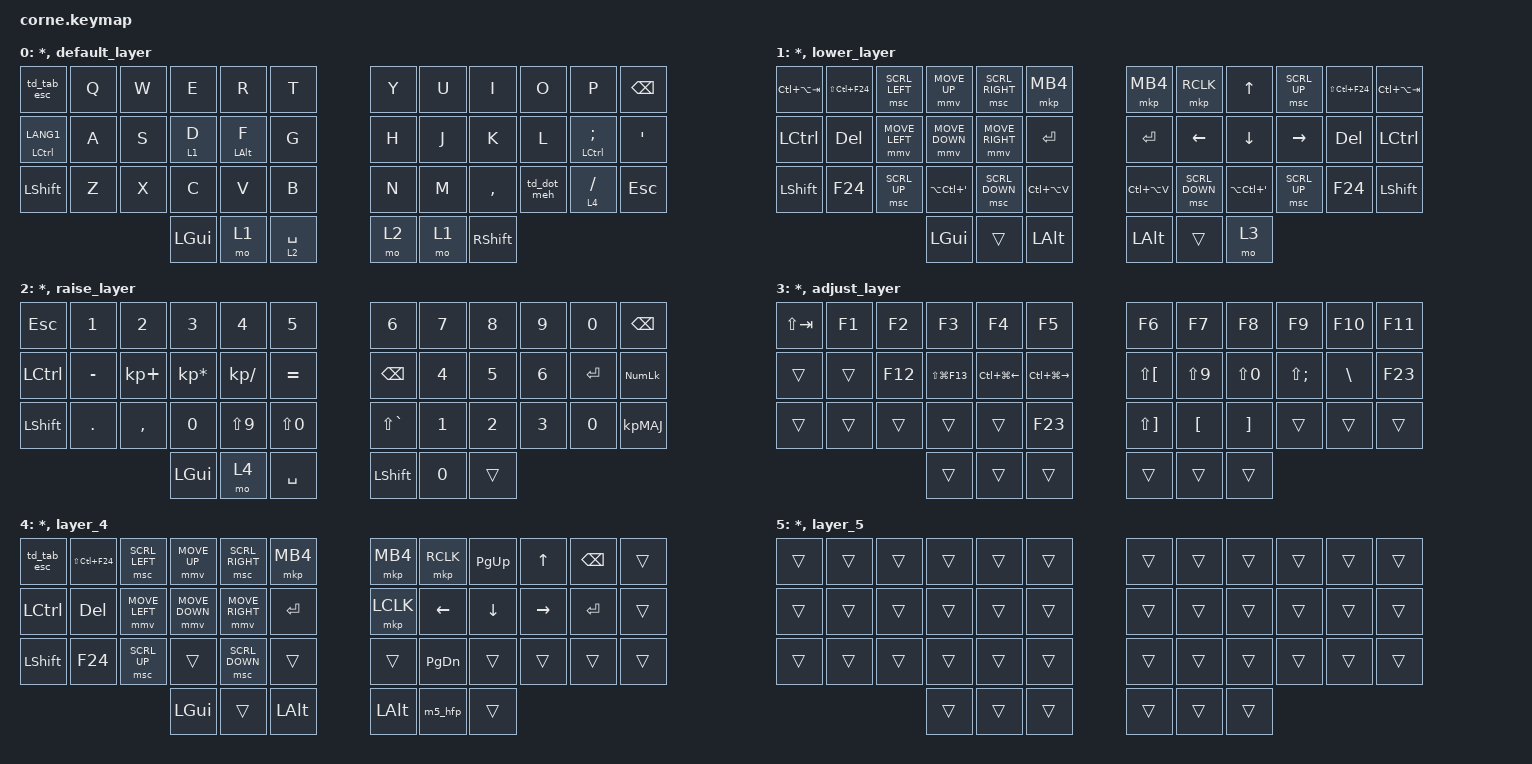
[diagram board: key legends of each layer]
,*
 * Corne Keymap
 * - Layer 1 (Lower)- IJKL -> Arrow Keys (Up, Left, Down, Right)
 * - Removed- Passwords, Combos
 *,

#include <behaviors.dtsi>
#include <dt-bindings,zmk,keys.h>
#include <dt-bindings,zmk,bt.h>
#include <dt-bindings,zmk,mouse.h>

, {
    ,* 1. 매크로 정의 *,
    macros {
        m0_hanja- m0_hanja {
            compatible = "zmk,behavior-macro";
            #binding-cells = <0>;
            bindings = <&kp LALT &kp H &kp A &kp C>;
        };
        m1_nav- m1_nav {
            compatible = "zmk,behavior-macro";
            #binding-cells = <0>;
            bindings = <&kp LALT &kp H &kp DOWN &kp DOWN &kp RIGHT &kp UP &kp RIGHT &kp RET>;
        };
        m5_hfp- m5_hfp {
            compatible = "zmk,behavior-macro";
            #binding-cells = <0>;
            bindings = <&kp LALT &kp H &kp F &kp P>;
        };
    };

    ,* 2. 탭댄스 정의 *,
    behaviors {
        td_tab_esc- tap_dance_tab_esc {
            compatible = "zmk,behavior-tap-dance";
            #binding-cells = <0>;
            tapping-term-ms = <200>;
            bindings = <&kp TAB>, <&kp ESC>;
        };
        td_dot_meh- tap_dance_dot_meh {
            compatible = "zmk,behavior-tap-dance";
            #binding-cells = <0>;
            tapping-term-ms = <180>;
            bindings = <&kp DOT>, <&kp LA(LC(LSHFT))>;
        };
    };

    keymap {
        compatible = "zmk,keymap";

        ,* Layer 0- 기본 (Base) *,
        default_layer {
            bindings = <
    &td_tab_esc     &kp Q   &kp W   &kp E     &kp R        &kp T            &kp Y      &kp U   &kp I      &kp O     &kp P            &kp BSPC
    &mt LCTRL LANG1 &kp A   &kp S   &lt 1 D   &mt LALT F   &kp G            &kp H      &kp J   &kp K      &kp L     &mt LCTRL SEMI   &kp SQT
    &kp LSHFT       &kp Z   &kp X   &kp C     &kp V        &kp B            &kp N      &kp M   &kp COMMA  &td_dot_meh  &lt 4 FSLH    &kp ESC
                            &kp LGUI &mo 1    &lt 2 SPACE                   &mo 2      &mo 1   &kp RSHFT
            >;
        };

        ,* Layer 1- 방향키 및 마우스 (Nav & Mouse)
           - Right Side Modified- I(Up), J(Left), K(Down), L(Right)
         *,
        lower_layer {
            bindings = <
    &kp LC(LA(TAB)) &kp LS(LC(F24)) &msc SCRL_LEFT &mmv MOVE_UP   &msc SCRL_RIGHT &mkp MB4         &mkp MB4  &mkp RCLK  &kp UP     &msc SCRL_UP    &kp LS(LC(F24)) &kp LC(LA(TAB))
    &kp LCTRL       &kp DEL         &mmv MOVE_LEFT &mmv MOVE_DOWN &mmv MOVE_RIGHT &kp RET          &kp RET   &kp LEFT   &kp DOWN   &kp RIGHT       &kp DEL         &kp LCTRL
    &kp LSHFT       &kp F24         &msc SCRL_UP   &kp LA(LC(SQT)) &msc SCRL_DOWN &kp LC(LA(V))    &kp LC(LA(V)) &msc SCRL_DOWN &kp LA(LC(SQT)) &msc SCRL_UP &kp F24    &kp LSHFT
                                    &kp LGUI       &trans          &kp LALT                        &kp LALT  &trans     &mo 3
            >;
        };

        ,* Layer 2- 숫자패드 (Numpad) *,
        raise_layer {
            bindings = <
    &kp ESC    &kp N1    &kp N2     &kp N3     &kp N4     &kp N5        &kp N6      &kp N7    &kp N8    &kp N9    &kp N0     &kp BSPC
    &kp LCTRL  &kp MINUS &kp KP_PLUS &kp KP_MULTIPLY &kp KP_DIVIDE &kp EQUAL  &kp BSPC    &kp N4    &kp N5    &kp N6    &kp RET    &kp KP_NUM
    &kp LSHFT  &kp DOT   &kp COMMA  &kp N0     &kp LS(N9) &kp LS(N0)    &kp LS(GRAVE) &kp N1    &kp N2    &kp N3    &kp N0     &kp KP_MAJ
                         &kp LGUI   &mo 4      &kp SPACE                &kp LSHFT   &kp N0    &trans
            >;
        };

        ,* Layer 3- 펑션키 (F-Keys) *,
        adjust_layer {
            bindings = <
    &kp LS(TAB) &kp F1   &kp F2    &kp F3     &kp F4     &kp F5        &kp F6     &kp F7    &kp F8    &kp F9    &kp F10    &kp F11
    &trans      &trans   &kp F12   &kp LS(LG(F13)) &kp LC(LG(LEFT)) &kp LC(LG(RIGHT)) &kp LS(LBKT) &kp LS(N9) &kp LS(N0) &kp LS(SEMI) &kp BSLH &kp F23
    &trans      &trans   &trans    &trans     &trans     &kp F23       &kp LS(RBKT) &kp LBKT  &kp RBKT  &trans    &trans     &trans
                         &trans    &trans     &trans                   &trans     &trans    &trans
            >;
        };

        ,* Layer 4- 스크롤 및 추가 기능 (Scroll & Extra) *,
        layer_4 {
            bindings = <
    &td_tab_esc &kp LS(LC(F24)) &msc SCRL_LEFT &mmv MOVE_UP &msc SCRL_RIGHT &mkp MB4   &mkp MB4 &mkp RCLK &kp PG_UP &kp UP &kp BSPC &trans
    &kp LCTRL   &kp DEL         &mmv MOVE_LEFT &mmv MOVE_DOWN &mmv MOVE_RIGHT &kp RET  &mkp LCLK &kp LEFT &kp DOWN &kp RIGHT &kp RET &trans
    &kp LSHFT   &kp F24         &msc SCRL_UP   &trans      &msc SCRL_DOWN &trans       &trans   &kp PG_DN &trans &trans &trans &trans
                                &kp LGUI       &trans      &kp LALT                    &kp LALT &m5_hfp   &trans
            >;
        };

        ,* Layer 5- (비어있음) *,
        layer_5 {
            bindings = <
    &trans  &trans  &trans   &trans   &trans  &trans       &trans  &trans   &trans  &trans  &trans  &trans
    &trans  &trans  &trans   &trans   &trans  &trans       &trans  &trans   &trans  &trans  &trans  &trans
    &trans  &trans  &trans   &trans   &trans  &trans       &trans  &trans   &trans  &trans  &trans  &trans
                    &trans   &trans   &trans               &trans  &trans   &trans
            >;
        };
    };
};
